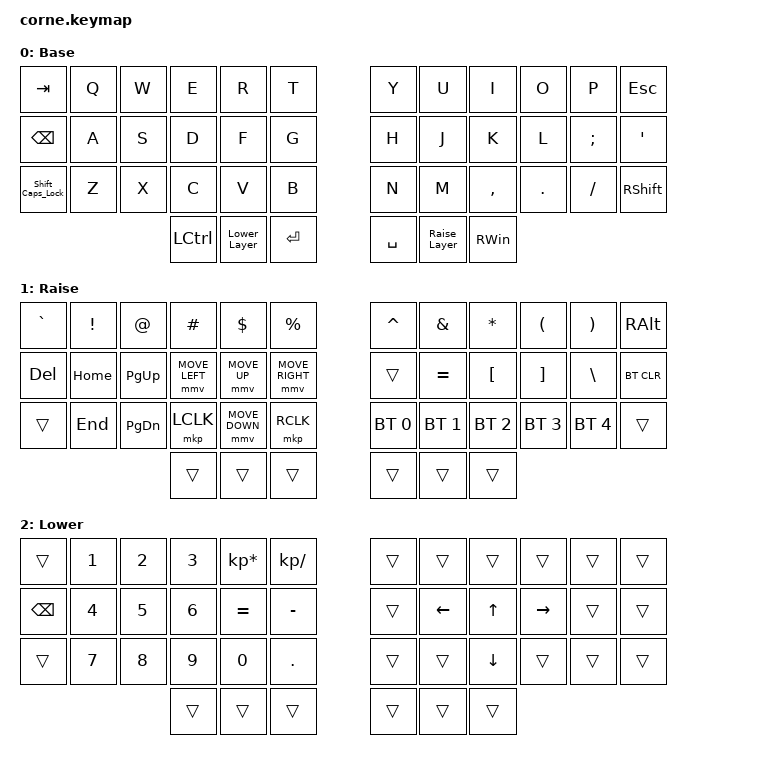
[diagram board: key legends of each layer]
/*
 * Copyright (c) 2020 The ZMK Contributors
 *
 * SPDX-License-Identifier: MIT
 */

#include <behaviors.dtsi>
#include <dt-bindings/zmk/bt.h>
#include <dt-bindings/zmk/keys.h>
#include <dt-bindings/zmk/pointing.h>

/ {
    combos {
        compatible = "zmk,combos";

        Delete_Word {
            bindings = <&kp LC(BACKSPACE)>;
            key-positions = <24 12>;
            layers = <0>;
        };

        Screencap {
            bindings = <&kp RA(P)>;
            key-positions = <41 24 14>;
        };

        alttab {
            bindings = <&kp LA(TAB)>;
            key-positions = <36 0>;
        };
    };

    behaviors {
        Shift_Caps_Lock: Shift_Caps_Lock {
            compatible = "zmk,behavior-tap-dance";
            label = "SHIFT_CAPS_LOCK";
            #binding-cells = <0>;
            bindings = <&kp LSHIFT>, <&kp CAPSLOCK>;

            tapping-term-ms = <300>;
        };

        Lower_Layer: Lower_Layer {
            compatible = "zmk,behavior-tap-dance";
            label = "LOWER_LAYER";
            #binding-cells = <0>;
            bindings = <&mo 2>, <&tog 2>, <&tog 0>;

            tapping-term-ms = <300>;
        };

        Raise_Layer: Raise_Layer {
            compatible = "zmk,behavior-tap-dance";
            label = "RAISE_LAYER";
            #binding-cells = <0>;
            bindings = <&mo 0>, <&tog 0>, <&tog 0>;

            tapping-term-ms = <301>;
        };

        Tab_ESC: Tab_ESC {
            compatible = "zmk,behavior-hold-tap";
            label = "TAB_ESC";
            bindings = <&kp>, <&kp>;

            #binding-cells = <2>;
            tapping-term-ms = <300>;
        };
    };

    keymap {
        compatible = "zmk,keymap";

        QWERTY {
            display-name = "Base";
            bindings = <
&kp TAB           &kp Q  &kp W  &kp E             &kp R         &kp T      &kp Y      &kp U         &kp I          &kp O    &kp P     &kp ESCAPE
&kp BACKSPACE     &kp A  &kp S  &kp D             &kp F         &kp G      &kp H      &kp J         &kp K          &kp L    &kp SEMI  &kp SQT
&Shift_Caps_Lock  &kp Z  &kp X  &kp C             &kp V         &kp B      &kp N      &kp M         &kp COMMA      &kp DOT  &kp FSLH  &kp RIGHT_SHIFT
                                &kp LEFT_CONTROL  &Lower_Layer  &kp RET    &kp SPACE  &Raise_Layer  &kp RIGHT_WIN
            >;
        };

        Raise {
            display-name = "Raise";
            bindings = <
&kp GRAVE   &kp EXCL  &kp AT         &kp HASH        &kp DLLR        &kp PRCNT          &kp CARET     &kp AMPS      &kp ASTERISK  &kp LPAR      &kp RPAR      &kp RIGHT_ALT
&kp DELETE  &kp HOME  &kp PAGE_UP    &mmv MOVE_LEFT  &mmv MOVE_UP    &mmv MOVE_RIGHT    &trans        &kp EQUAL     &kp LBKT      &kp RBKT      &kp BSLH      &bt BT_CLR
&trans      &kp END   &kp PAGE_DOWN  &mkp LCLK       &mmv MOVE_DOWN  &mkp RCLK          &bt BT_SEL 0  &bt BT_SEL 1  &bt BT_SEL 2  &bt BT_SEL 3  &bt BT_SEL 4  &trans
                                     &trans          &trans          &trans             &trans        &trans        &trans
            >;
        };

        Lower {
            display-name = "Lower";
            bindings = <
&trans         &kp N1        &kp N2  &kp N3        &kp KP_MULTIPLY  &kp KP_DIVIDE    &trans  &trans          &trans          &trans     &trans  &trans
&kp BACKSPACE  &kp NUMBER_4  &kp N5  &kp NUMBER_6  &kp EQUAL        &kp MINUS        &trans  &kp LEFT_ARROW  &kp UP_ARROW    &kp RIGHT  &trans  &trans
&trans         &kp N7        &kp N8  &kp N9        &kp N0           &kp PERIOD       &trans  &trans          &kp DOWN_ARROW  &trans     &trans  &trans
                                     &trans        &trans           &trans           &trans  &trans          &trans
            >;
        };
    };

    conditional_layers { compatible = "zmk,conditional-layers"; };
};
